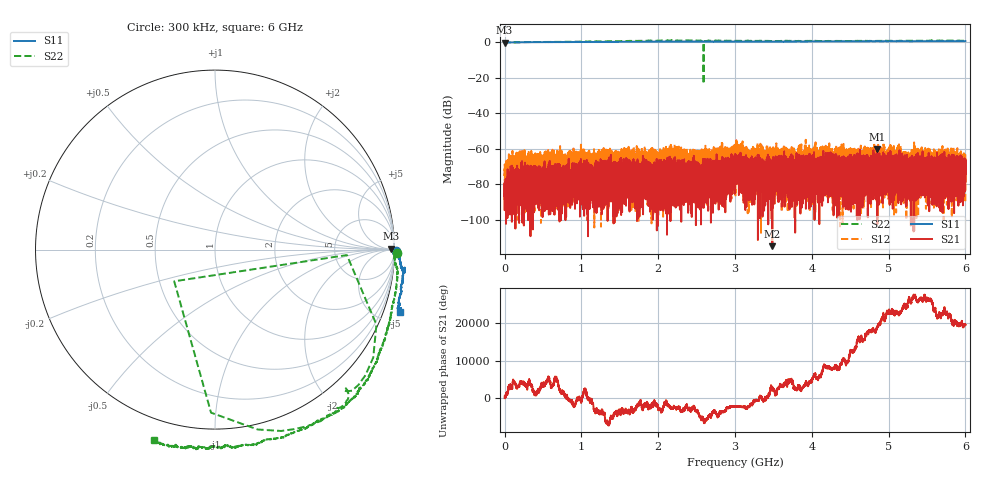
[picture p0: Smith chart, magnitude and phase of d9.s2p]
!Agilent Technologies,N5230C,SG49000117,A.08.50.07
!Agilent N5230C: A.08.50.07
!Date: Friday, May 17, 2024 03:36:59
!Correction: S11(Full 2 Port(1,2))
!S21(Full 2 Port(1,2))
!S12(Full 2 Port(1,2))
!S22(Full 2 Port(1,2))
!S2P File: Measurements: S11, S21, S12, S22:
# Hz S  MA  R 50
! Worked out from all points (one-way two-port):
!   20001 points, 300 kHz to 6 GHz, reference 50 ohm
!   highest |S21| = -60.36 dB at 4.85 GHz (marker M1); lowest = -114.9 dB at 3.486 GHz (marker M2)
!   lowest |S11| = -0.2 dB at 600 kHz (marker M3), VSWR 111.15, Z = 5.15e+03 + j1.45e+03 ohm
!   |S11| at or under -10 dB: nowhere
!   |S22| runs from -23.3 to 1.1 dB; largest |S21 - S12| = 0.0018
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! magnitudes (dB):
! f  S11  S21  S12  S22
! 300 kHz  0.1  -85.7  -71.2  0.1
! 600 kHz  -0.2  -91.8  -73.2  -0.3
! 1 GHz  0.2  -76.9  -68.9  0.4
! 1.621 GHz  0.4  -71.1  -62.2  0.8
! 2 GHz  0.5  -88.7  -74.5  1.0
! 2.191 GHz  0.5  -68.2  -70.0  1.1
! 2.279 GHz  0.5  -73.7  -69.8  1.1
! 2.759 GHz  0.5  -89.4  -62.4  1.0
! 2.916 GHz  0.5  -72.6  -63.1  0.9
! 3 GHz  0.5  -70.1  -72.8  0.9
! 3.074 GHz  0.5  -65.4  -70.3  1.0
! 3.194 GHz  0.5  -73.4  -61.2  0.9
! 3.486 GHz  0.5  -114.9  -69.7  0.9
! 3.936 GHz  0.5  -69.7  -86.0  0.9
! 4 GHz  0.5  -72.4  -62.1  0.9
! 4.076 GHz  0.6  -70.4  -68.8  0.8
! 4.189 GHz  0.6  -68.0  -62.3  0.8
! 4.448 GHz  0.7  -68.0  -65.4  0.8
! 4.85 GHz  0.7  -60.4  -73.9  0.9
! 5 GHz  0.7  -72.7  -64.1  0.9
! 5.934 GHz  0.7  -70.9  -74.9  1.0
! 6 GHz  0.7  -74.2  -63.2  0.9
